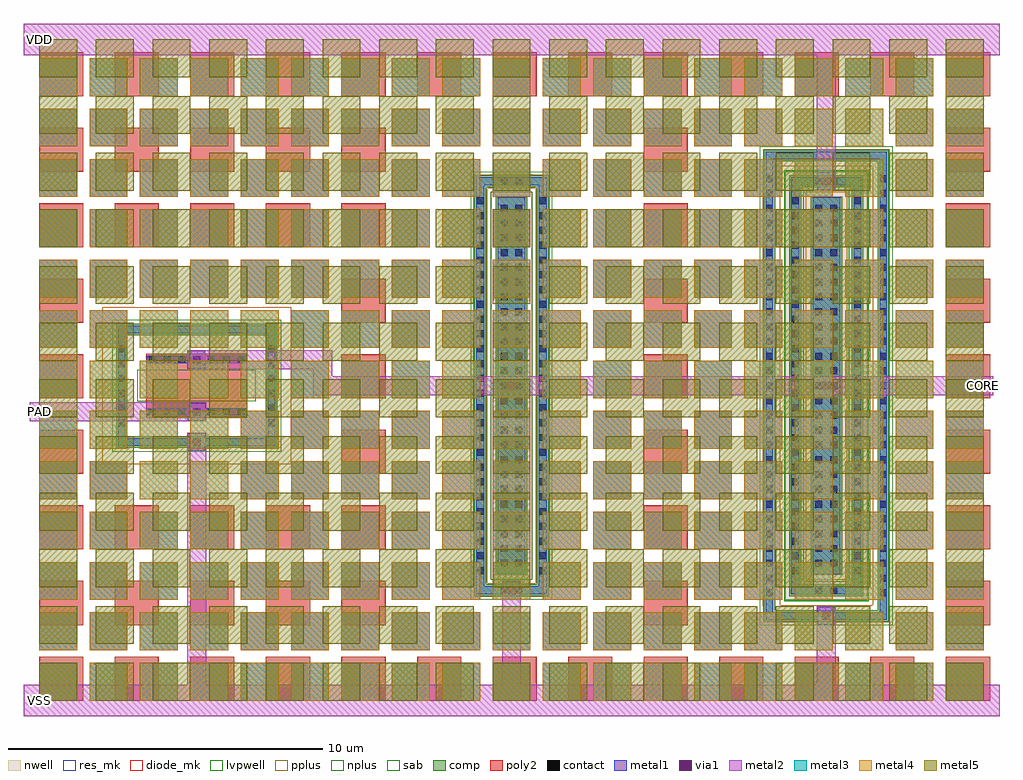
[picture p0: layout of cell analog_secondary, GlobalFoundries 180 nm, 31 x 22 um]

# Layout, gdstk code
import gdstk
lib = gdstk.Library(unit=1e-6, precision=1e-09)
def R(c, l, rs):  # rectangles x0, y0, x1, y1
    for r in rs: c.add(gdstk.rectangle(r[:2], r[2:], *l))
def A(c, l, x, y, w, h, nx, ny, dx, dy):  # array of equal rectangles
    R(c, l, [(x+i*dx, y+j*dy, x+i*dx+w, y+j*dy+h) for i in range(nx) for j in range(ny)])
nwell = (21, 0)
comp = (22, 0)
poly2 = (30, 0)
pplus = (31, 0)
nplus = (32, 0)
contact = (33, 0)
metal1 = (34, 0)
via1 = (35, 0)
metal2 = (36, 0)
metal3 = (42, 0)
metal4 = (46, 0)
sab = (49, 0)
metal5 = (81, 0)
res_mk = (110, 5)
diode_mk = (115, 5)
lvpwell = (204, 0)

analog_secondary = lib.new_cell('analog_secondary')
R(analog_secondary, nwell, [(18.7,5.2,21.3,18.8)])
R(analog_secondary, comp, [(18.01,4.51,21.99,4.87), (18.01,4.87,18.37,19.13), (21.63,4.87,21.99,19.13), (8.82,5.32,11.18,5.7), (18.82,5.32,21.18,5.7), (8.82,5.7,9.2,18.3), (10.8,5.7,11.18,18.3), (18.82,5.7,19.2,18.3), (20.8,5.7,21.18,18.3), (9.5,6,10.5,18), (19.5,6,20.5,18), (-2.56,10.03,2.56,10.39), (-2.56,10.39,-2.2,13.61), (2.2,10.39,2.56,13.61), (-2.56,13.61,2.56,13.97), (8.82,18.3,11.18,18.68), (18.82,18.3,21.18,18.68), (18.01,19.13,21.99,19.49)])
A(analog_secondary, poly2, -5, 2, 1.4, 1.4, 13, 2, 2.4, 19.2)
A(analog_secondary, poly2, -5, 4.4, 1.4, 1.4, 5, 2, 2.4, 2.4)
A(analog_secondary, poly2, -5, 9.2, 1.4, 1.4, 4, 3, 9.6, 2.4)
A(analog_secondary, poly2, -5, 16.4, 1.4, 1.4, 5, 2, 2.4, 2.4)
R(analog_secondary, poly2, [(14.2,4.4,15.6,5.8), (23.8,4.4,25.2,5.8), (14.2,6.8,15.6,8.2), (23.8,6.8,25.2,8.2), (-1.6,10.99,1.6,13.01), (14.2,16.4,15.6,17.8), (23.8,16.4,25.2,17.8), (14.2,18.8,15.6,20.2), (23.8,18.8,25.2,20.2)])
R(analog_secondary, pplus, [(17.99,4.49,22.01,4.995), (17.98,4.995,22.02,5.03), (17.98,5.03,18.53,18.97), (21.47,5.03,22.02,18.97), (9.325,5.29,10.675,5.3), (8.8,5.3,11.2,5.73), (8.8,5.73,9.23,5.825), (10.77,5.73,11.2,5.825), (8.79,5.825,9.23,18.175), (10.77,5.825,11.21,18.175), (19.34,5.84,20.66,18.16), (-3,9.5,3,14.5), (-2.58,10.01,2.58,10.41), (-2.58,10.41,-2.17,10.515), (2.17,10.41,2.58,10.515), (-2.59,10.515,-2.17,13.485), (2.17,10.515,2.59,13.485), (-1.9,10.69,1.9,13.31), (-2.58,13.485,-2.17,13.59), (2.17,13.485,2.58,13.59), (-2.58,13.59,2.58,13.99), (8.8,18.175,9.23,18.27), (10.77,18.175,11.2,18.27), (8.8,18.27,11.2,18.7), (9.325,18.7,10.675,18.71), (17.98,18.97,22.02,19.005), (17.99,19.005,22.01,19.51)])
R(analog_secondary, nplus, [(18.66,5.16,21.34,5.79), (18.66,5.79,19.29,18.21), (20.71,5.79,21.34,18.21), (9.34,5.84,10.66,18.16), (18.66,18.21,21.34,18.84)])
A(analog_secondary, contact, 18.08, 5.31, 0.22, 0.22, 1, 29, 0, 0.47)
A(analog_secondary, contact, 21.7, 5.31, 0.22, 0.22, 1, 29, 0, 0.47)
A(analog_secondary, contact, 8.9, 6.015, 0.22, 0.22, 1, 26, 0, 0.47)
A(analog_secondary, contact, 10.88, 6.015, 0.22, 0.22, 1, 26, 0, 0.47)
A(analog_secondary, contact, 18.9, 6.015, 0.22, 0.22, 1, 26, 0, 0.47)
A(analog_secondary, contact, 20.88, 6.015, 0.22, 0.22, 1, 26, 0, 0.47)
A(analog_secondary, contact, 9.655, 6.25, 0.22, 0.22, 1, 25, 0, 0.47)
A(analog_secondary, contact, 10.125, 6.25, 0.22, 0.22, 1, 25, 0, 0.47)
A(analog_secondary, contact, 19.655, 6.25, 0.22, 0.22, 1, 25, 0, 0.47)
A(analog_secondary, contact, 20.125, 6.25, 0.22, 0.22, 1, 25, 0, 0.47)
A(analog_secondary, contact, -2.49, 10.715, 0.22, 0.22, 1, 6, 0, 0.47)
A(analog_secondary, contact, 2.27, 10.715, 0.22, 0.22, 1, 6, 0, 0.47)
A(analog_secondary, contact, -1.52, 11.06, 0.22, 0.22, 7, 2, 0.47, 1.66)
R(analog_secondary, contact, [(9.655,5.4,9.875,5.62), (10.125,5.4,10.345,5.62), (19.655,5.4,19.875,5.62), (20.125,5.4,20.345,5.62), (9.655,18.38,9.875,18.6), (10.125,18.38,10.345,18.6), (19.655,18.38,19.875,18.6), (20.125,18.38,20.345,18.6)])
A(analog_secondary, metal1, -5, 2, 1.2, 1.2, 19, 2, 1.6, 19.2)
A(analog_secondary, metal1, -5, 3.6, 1.2, 1.2, 14, 2, 1.6, 16)
A(analog_secondary, metal1, 23.8, 3.6, 1.2, 1.2, 1, 11, 0, 1.6)
A(analog_secondary, metal1, -5, 5.2, 1.2, 1.2, 8, 2, 1.6, 1.6)
A(analog_secondary, metal1, 12.6, 5.2, 1.2, 1.2, 3, 9, 1.6, 1.6)
A(analog_secondary, metal1, -5, 8.4, 1.2, 1.2, 1, 4, 0, 1.6)
A(analog_secondary, metal1, 1.4, 8.4, 1.2, 1.2, 4, 1, 1.6, 0)
A(analog_secondary, metal1, 3, 10, 1.2, 1.2, 3, 3, 1.6, 1.6)
A(analog_secondary, metal1, -5, 14.8, 1.2, 1.2, 8, 3, 1.6, 1.6)
R(analog_secondary, metal1, [(19.72,4.41,20.28,4.97), (18.075,4.575,21.925,4.805), (18.075,4.805,18.305,19.195), (21.695,4.805,21.925,19.195), (9.72,5.22,10.28,5.78), (8.885,5.385,11.115,5.635), (18.885,5.385,21.115,5.635), (8.885,5.635,9.135,18.365), (10.865,5.635,11.115,18.365), (18.885,5.635,19.135,18.365), (20.865,5.635,21.115,18.365), (9.565,6.01,10.435,17.99), (19.565,6.01,20.435,17.99), (-3.4,8.4,-2.2,9.6), (-0.28,9.93,0.28,10.49), (-2.495,10.095,2.495,10.325), (-2.495,10.325,-2.265,13.675), (2.265,10.325,2.495,13.675), (-0.28,10.89,0.28,11.45), (-1.59,11.055,1.59,11.285), (9.72,11.72,10.28,12.28), (19.72,11.72,20.28,12.28), (-0.28,12.55,0.28,13.11), (-1.59,12.715,1.59,12.945), (-2.495,13.675,2.495,13.905), (19.72,18.22,20.28,18.78), (8.885,18.365,11.115,18.615), (18.885,18.365,21.115,18.615), (18.075,19.195,21.925,19.425)])
R(analog_secondary, via1, [(19.87,4.56,20.13,4.82), (9.87,5.37,10.13,5.63), (-0.13,10.08,0.13,10.34), (-0.13,11.04,0.13,11.3), (9.87,11.87,10.13,12.13), (19.87,11.87,20.13,12.13), (-0.13,12.7,0.13,12.96), (19.87,18.37,20.13,18.63)])
A(analog_secondary, metal2, -5, 3.6, 1.2, 1.2, 1, 4, 0, 1.6)
A(analog_secondary, metal2, -3.4, 3.6, 1.2, 1.2, 1, 4, 0, 1.6)
A(analog_secondary, metal2, 1.4, 3.6, 1.2, 1.2, 5, 2, 1.6, 1.6)
A(analog_secondary, metal2, 11, 3.6, 1.2, 1.2, 5, 2, 1.6, 1.6)
A(analog_secondary, metal2, 1.4, 6.8, 1.2, 1.2, 15, 3, 1.6, 1.6)
A(analog_secondary, metal2, 6.2, 13.2, 1.2, 1.2, 12, 1, 1.6, 0)
A(analog_secondary, metal2, -5, 14.8, 1.2, 1.2, 19, 2, 1.6, 1.6)
A(analog_secondary, metal2, -5, 18, 1.2, 1.2, 15, 2, 1.6, 1.6)
R(analog_secondary, metal2, [(-5.5,1.5,25.5,2.5), (-0.3,1.7,0.3,10.51), (9.7,1.7,10.3,5.8), (19.7,1.7,20.3,4.99), (22.2,3.6,23.4,4.8), (23.8,3.6,25,4.8), (19.7,4.39,20.3,4.99), (9.7,5.2,10.3,5.8), (22.2,5.2,23.4,6.4), (23.8,5.2,25,6.4), (-0.3,9.91,0.3,10.51), (-5.3,10.87,0.3,11.47), (-0.3,10.87,0.3,11.47), (3.7,11.7,4.3,13.13), (3.7,11.7,25.3,12.3), (9.7,11.7,10.3,12.3), (19.7,11.7,20.3,12.3), (-0.3,12.53,0.3,13.13), (-0.3,12.53,4.3,13.13), (-5,13.2,-3.8,14.4), (-3.4,13.2,-2.2,14.4), (22.2,18,23.4,19.2), (23.8,18,25,19.2), (19.7,18.2,20.3,18.8), (19.7,18.2,20.3,23.3), (22.2,19.6,23.4,20.8), (23.8,19.6,25,20.8), (-5.5,22.5,25.5,23.5)])
A(analog_secondary, metal3, -5, 2, 1.2, 1.2, 19, 13, 1.6, 1.6)
A(analog_secondary, metal4, -5, 2, 1.2, 1.2, 19, 13, 1.6, 1.6)
R(analog_secondary, sab, [(-1.88,11.5,1.88,12.5)])
A(analog_secondary, metal5, -5, 2, 1.2, 1.2, 17, 12, 1.8, 1.8)
R(analog_secondary, res_mk, [(-1.6,11.5,1.6,12.5)])
R(analog_secondary, diode_mk, [(9.5,6,10.5,18), (19.5,6,20.5,18)])
R(analog_secondary, lvpwell, [(17.89,4.39,22.11,5.2), (8.7,5.2,11.3,18.8), (17.89,5.2,18.7,18.8), (21.3,5.2,22.11,18.8), (-2.68,9.91,2.68,14.09), (17.89,18.8,22.11,19.61)])
analog_secondary.add(gdstk.Label('PAD', (-5,11.17), layer=36, texttype=10))
analog_secondary.add(gdstk.Label('CORE', (25,12), layer=36, texttype=10))
analog_secondary.add(gdstk.Label('VSS', (-5,2), layer=36, texttype=10))
analog_secondary.add(gdstk.Label('VDD', (-5,23), layer=36, texttype=10))

lib.write_gds('analog_secondary.gds')
